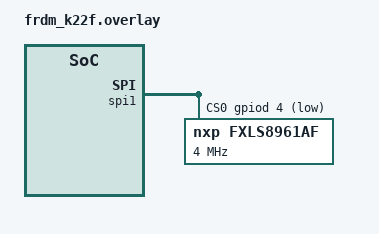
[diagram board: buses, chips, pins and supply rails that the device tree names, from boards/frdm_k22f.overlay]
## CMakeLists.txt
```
# SPDX-License-Identifier: Apache-2.0

cmake_minimum_required(VERSION 3.20.0)
find_package(Zephyr REQUIRED HINTS $ENV{ZEPHYR_BASE})
project(fxls8961af)

FILE(GLOB app_sources src/*.c)
target_sources(app PRIVATE ${app_sources})
```

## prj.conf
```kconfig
CONFIG_FXLS8961AF=y
CONFIG_SENSOR=y

CONFIG_SPI=y
```

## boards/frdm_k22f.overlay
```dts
/*
 * Copyright 2023 NXP
 *
 * SPDX-License-Identifier: Apache-2.0
 */

#include <zephyr/dt-bindings/spi/spi.h>

&pinctrl {
	spi1_default: spi1_default {
		group0 {
			pinmux = <SPI1_SCK_PTD5>,
				<SPI1_SIN_PTD7>,
				<SPI1_SOUT_PTD6>;
			drive-strength = "low";
			slew-rate = "fast";
		};
	};
};

&spi1 {
	status = "okay";
	pinctrl-0 = <&spi1_default>;
	pinctrl-names = "default";

	cs-gpios = <&gpiod 4 GPIO_ACTIVE_LOW>;

	fxls8961af: accelerometer@0 {
		status = "okay";
		compatible = "nxp,fxls8961af";
		reg = <0>;
		spi-max-frequency = <4000000>;
		duplex = <SPI_FULL_DUPLEX>;
	};
};
```

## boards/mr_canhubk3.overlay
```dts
/*
 * Copyright 2023 NXP
 *
 * SPDX-License-Identifier: Apache-2.0
 */

#include <zephyr/dt-bindings/spi/spi.h>

&pinctrl {
	lpspi4_default: lpspi4_default {
		group1 {
			pinmux = <PTB10_LPSPI4_SCK_O>, <PTB11_LPSPI4_SIN_O>;
			output-enable;
		};
		group2 {
			pinmux = <PTB9_LPSPI4_SOUT_I>;
			input-enable;
		};
	};
};

&lpspi4 {
	pinctrl-0 = <&lpspi4_default>;
	pinctrl-names = "default";
	data-pin-config = "sdo-in,sdi-out";
	status = "okay";

	cs-gpios = <&gpioe_h 7 GPIO_ACTIVE_LOW>;
	transfer-delay = <2000>;

	fxls8961af: accelerometer@0 {
		status = "okay";
		compatible = "nxp,fxls8961af";
		reg = <0>;
		spi-max-frequency = <4000000>;
		duplex = <SPI_FULL_DUPLEX>;
	};
};
```

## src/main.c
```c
/*
 * Copyright 2023 NXP
 *
 * SPDX-License-Identifier: Apache-2.0
 */

#include <zephyr/kernel.h>
#include <zephyr/device.h>

#include <zephyr/drivers/sensor/fxls8961af.h>

#include <zephyr/logging/log.h>
LOG_MODULE_DECLARE(fxls8961af, CONFIG_FXLS8961AF_LOG_LEVEL);

static const struct device *fxls8961af_dev;
static const struct fxls8961af_dev_api *fxls8961af_api;

int main(void)
{
	fxls8961af_dev = DEVICE_DT_GET(DT_NODELABEL(fxls8961af));
	if (!device_is_ready(fxls8961af_dev)) {
		LOG_ERR("Device %s is not ready. Returning.", fxls8961af_dev->name);
		return -1;
	}

	fxls8961af_api = fxls8961af_dev->api;

	int ret = 0;
	while (true) {
		ret |= fxls8961af_api->read_data(fxls8961af_dev);
		ret |= fxls8961af_api->display_data(fxls8961af_dev);

		if (ret) {
			LOG_ERR("Error %d while reading data. Returning.", ret);
			return -1;
		}

		k_sleep(K_MSEC(100));
	}

	return 0;
}
```
